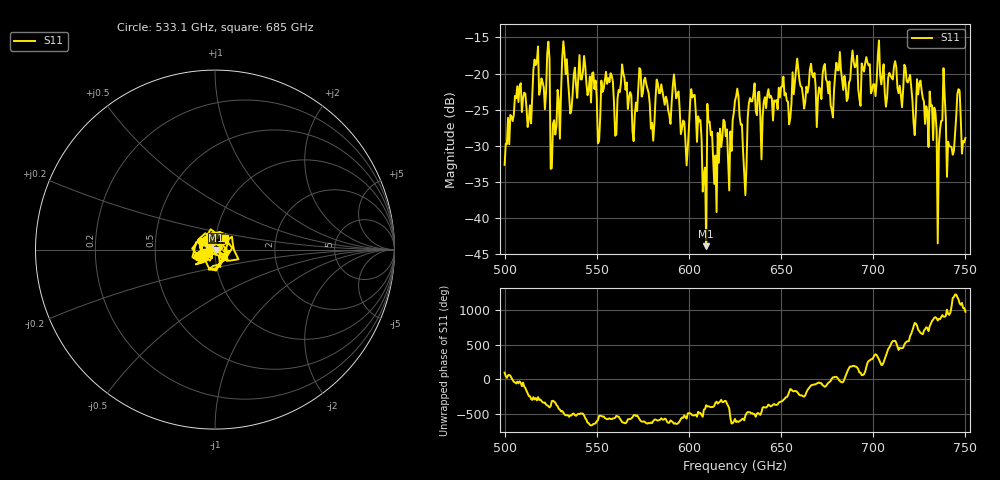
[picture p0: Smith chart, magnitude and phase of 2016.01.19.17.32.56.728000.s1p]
!Created with skrf (http://scikit-rf.org).
# GHz S RI R 50.0
!freq ReS11 ImS11
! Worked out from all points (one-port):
!   401 points, 500 GHz to 750 GHz, reference 50 ohm
!   lowest |S11| = -43.9 dB at 609.4 GHz (marker M1), VSWR 1.01, Z = 50.6 - j0.154 ohm
!   |S11| at or under -10 dB: start of sweep to end of sweep
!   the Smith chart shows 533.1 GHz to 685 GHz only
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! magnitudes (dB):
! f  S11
! 500 GHz  -32.6
! 507.5 GHz  -23.9
! 513.8 GHz  -24.4
! 516.9 GHz  -18.8
! 523.1 GHz  -17.2
! 526.2 GHz  -26.9
! 531.2 GHz  -17.9
! 550.6 GHz  -29.6
! 562.5 GHz  -22.6
! 593.8 GHz  -22.8
! 598.8 GHz  -32.7
! 602.5 GHz  -23.0
! 608.1 GHz  -34.0
! 609.4 GHz  -43.9
! 611.2 GHz  -26.6
! 613.8 GHz  -35.3
! 622.5 GHz  -28.0
! 625 GHz  -23.7
! 630 GHz  -33.9
! 634.4 GHz  -23.8
! 656.2 GHz  -19.8
! 687.5 GHz  -20.8
! 718.8 GHz  -21.2
! 735.6 GHz  -29.8
! 738.1 GHz  -19.2
! 741.2 GHz  -30.0
! 746.2 GHz  -22.2
! 750 GHz  -28.9
